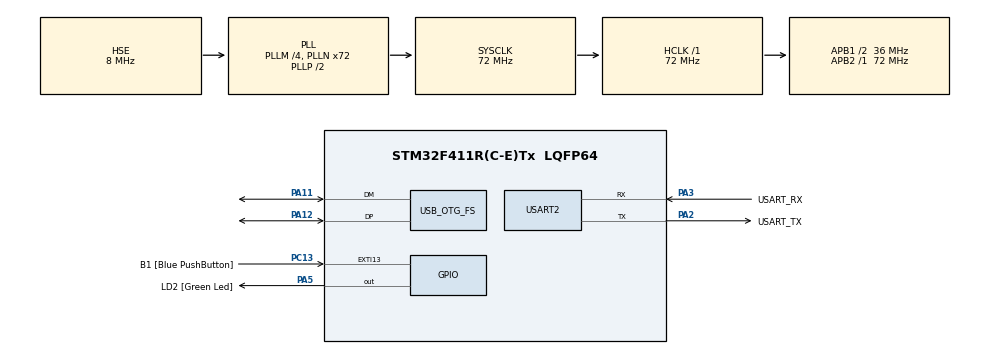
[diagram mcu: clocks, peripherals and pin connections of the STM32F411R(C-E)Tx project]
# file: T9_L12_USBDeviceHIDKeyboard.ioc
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Mcu.Family=STM32F4
Mcu.Name=STM32F411R(C-E)Tx
Mcu.Package=LQFP64
NVIC.OTG_FS_IRQn=true\:0\:0\:false\:false\:true\:false\:true
NVIC.PriorityGroup=NVIC_PRIORITYGROUP_0
PA11.Mode=Device_Only
PA11.Signal=USB_OTG_FS_DM
PA12.Mode=Device_Only
PA12.Signal=USB_OTG_FS_DP
PA13.GPIO_Label=TMS
PA13.Mode=Serial_Wire
PA13.Signal=SYS_JTMS-SWDIO
PA14.GPIO_Label=TCK
PA14.Mode=Serial_Wire
PA14.Signal=SYS_JTCK-SWCLK
PA2.GPIO_Label=USART_TX
PA2.Mode=Asynchronous
PA2.Signal=USART2_TX
PA3.GPIO_Label=USART_RX
PA3.Mode=Asynchronous
PA3.Signal=USART2_RX
PA5.GPIO_Label=LD2 [Green Led]
PA5.Signal=GPIO_Output
PB3.GPIO_Label=SWO
PB3.Signal=SYS_JTDO-SWO
PC13-ANTI_TAMP.GPIO_Label=B1 [Blue PushButton]
PC13-ANTI_TAMP.GPIO_ModeDefaultEXTI=GPIO_MODE_IT_FALLING
PC13-ANTI_TAMP.Signal=GPXTI13
PC14-OSC32_IN.Mode=LSE-External-Oscillator
PC14-OSC32_IN.Signal=RCC_OSC32_IN
PC15-OSC32_OUT.Mode=LSE-External-Oscillator
PC15-OSC32_OUT.Signal=RCC_OSC32_OUT
PH0\ -\ OSC_IN.Mode=HSE-External-Clock-Source
PH0\ -\ OSC_IN.Signal=RCC_OSC_IN
PH1\ -\ OSC_OUT.Mode=HSE-External-Clock-Source
PH1\ -\ OSC_OUT.Signal=RCC_OSC_OUT
ProjectManager.HeapSize=0x800
ProjectManager.StackSize=0x1000
ProjectManager.TargetToolchain=STM32CubeIDE
RCC.48MHZClocksFreq_Value=48000000
RCC.AHBFreq_Value=72000000
RCC.APB1CLKDivider=RCC_HCLK_DIV2
RCC.APB1Freq_Value=36000000
RCC.APB1TimFreq_Value=72000000
RCC.APB2Freq_Value=72000000
RCC.APB2TimFreq_Value=72000000
RCC.CortexFreq_Value=72000000
RCC.FLatency-AdvancedSettings=FLASH_LATENCY_2
RCC.HCLKFreq_Value=72000000
RCC.HSE_VALUE=8000000
RCC.HSI_VALUE=16000000
RCC.PLLM=4
RCC.PLLN=72
RCC.PLLQ=3
RCC.SYSCLKFreq_VALUE=72000000
RCC.SYSCLKSource=RCC_SYSCLKSOURCE_PLLCLK
RCC.VCOOutputFreq_Value=144000000
USART2.VirtualMode=VM_ASYNC
USB_DEVICE.CLASS_NAME_FS=HID
USB_DEVICE.MANUFACTURER_STRING=s
USB_DEVICE.PID_HID_FS=22317
USB_DEVICE.VirtualMode=Hid
USB_DEVICE.VirtualModeFS=Hid_FS
USB_OTG_FS.VirtualMode=Device_Only
VP_USB_DEVICE_VS_USB_DEVICE_HID_FS.Mode=HID_FS
board=NUCLEO-F411RE

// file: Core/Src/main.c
/* USER CODE BEGIN Header */
/**
  ******************************************************************************
  * @file           : main.c
  * @brief          : Main program body
  ******************************************************************************
  * @attention
  *
  * <h2><center>&copy; Copyright (c) 2020 STMicroelectronics.
  * All rights reserved.</center></h2>
  *
  * This software component is licensed by ST under BSD 3-Clause license,
  * the "License"; You may not use this file except in compliance with the
  * License. You may obtain a copy of the License at:
  *                        opensource.org/licenses/BSD-3-Clause
  *
  ******************************************************************************
  */
/* USER CODE END Header */
#include "main.h"
#include "usart.h"
#include "usb_device.h"
#include "gpio.h"

/* USER CODE BEGIN Includes */
#include "usbd_hid.h"
/* USER CODE END Includes */

/* USER CODE BEGIN PV */
extern USBD_HandleTypeDef hUsbDeviceFS;
uint8_t UsbHidKeyboardReportBuffer[8];

uint8_t MichalSzozdowskiKeycodes[17] =
{
		16, //m
		12, //i
		6,	//c
		11,	//h
		4,	//a
		15,	//l
		44, //spacebar
		22,	//s
		29, //z
		18, //o
		29, //z
		7, 	//d
		18, //o
		26, //w
		22, //s
		14, //k
		12  //i
};
/* USER CODE END PV */

void SystemClock_Config(void);

int main(void)
{

  /* MCU Configuration--------------------------------------------------------*/

  /* Reset of all peripherals, Initializes the Flash interface and the Systick. */
  HAL_Init();

  /* Configure the system clock */
  SystemClock_Config();

  /* Initialize all configured peripherals */
  MX_GPIO_Init();
  MX_USART2_UART_Init();
  MX_USB_DEVICE_Init();
  /* USER CODE BEGIN 2 */
  UsbHidKeyboardReportBuffer[0]=0;		// Modifier
  UsbHidKeyboardReportBuffer[1]=0;		// OEM / Reserved
  UsbHidKeyboardReportBuffer[2]=0x04;	// Key 1 (0x04 = 'a')
  UsbHidKeyboardReportBuffer[3]=0;		// Key 2
  UsbHidKeyboardReportBuffer[4]=0;		// Key 3
  UsbHidKeyboardReportBuffer[5]=0;		// Key 4
  UsbHidKeyboardReportBuffer[6]=0;		// Key 5
  UsbHidKeyboardReportBuffer[7]=0;		// Key 6
  /* USER CODE END 2 */

  /* Infinite loop */
  /* USER CODE BEGIN WHILE */
  while (1)
  {
	  if(HAL_GPIO_ReadPin(B1_GPIO_Port, B1_Pin) == GPIO_PIN_RESET)
	  {
		  for(uint8_t i = 0; i < 17; i++)
		  {
			  UsbHidKeyboardReportBuffer[2] = MichalSzozdowskiKeycodes[i];
			  USBD_HID_SendReport(&hUsbDeviceFS,UsbHidKeyboardReportBuffer,8);
			  HAL_Delay(10);

			  UsbHidKeyboardReportBuffer[2] = 0x00;	// Key 1 (none)
			  USBD_HID_SendReport(&hUsbDeviceFS,UsbHidKeyboardReportBuffer,8);
			  HAL_Delay(10);
		  }
	  }
    /* USER CODE END WHILE */

  }
}

void SystemClock_Config(void)
{
  RCC_OscInitTypeDef RCC_OscInitStruct = {0};
  RCC_ClkInitTypeDef RCC_ClkInitStruct = {0};

  /** Configure the main internal regulator output voltage
  */
  __HAL_RCC_PWR_CLK_ENABLE();
  __HAL_PWR_VOLTAGESCALING_CONFIG(PWR_REGULATOR_VOLTAGE_SCALE1);
  /** Initializes the RCC Oscillators according to the specified parameters
  * in the RCC_OscInitTypeDef structure.
  */
  RCC_OscInitStruct.OscillatorType = RCC_OSCILLATORTYPE_HSE;
  RCC_OscInitStruct.HSEState = RCC_HSE_BYPASS;
  RCC_OscInitStruct.PLL.PLLState = RCC_PLL_ON;
  RCC_OscInitStruct.PLL.PLLSource = RCC_PLLSOURCE_HSE;
  RCC_OscInitStruct.PLL.PLLM = 4;
  RCC_OscInitStruct.PLL.PLLN = 72;
  RCC_OscInitStruct.PLL.PLLP = RCC_PLLP_DIV2;
  RCC_OscInitStruct.PLL.PLLQ = 3;
  if (HAL_RCC_OscConfig(&RCC_OscInitStruct) != HAL_OK)
  {
    Error_Handler();
  }
  /** Initializes the CPU, AHB and APB buses clocks
  */
  RCC_ClkInitStruct.ClockType = RCC_CLOCKTYPE_HCLK|RCC_CLOCKTYPE_SYSCLK
                              |RCC_CLOCKTYPE_PCLK1|RCC_CLOCKTYPE_PCLK2;
  RCC_ClkInitStruct.SYSCLKSource = RCC_SYSCLKSOURCE_PLLCLK;
  RCC_ClkInitStruct.AHBCLKDivider = RCC_SYSCLK_DIV1;
  RCC_ClkInitStruct.APB1CLKDivider = RCC_HCLK_DIV2;
  RCC_ClkInitStruct.APB2CLKDivider = RCC_HCLK_DIV1;

  if (HAL_RCC_ClockConfig(&RCC_ClkInitStruct, FLASH_LATENCY_2) != HAL_OK)
  {
    Error_Handler();
  }
}

void Error_Handler(void)
{
}
